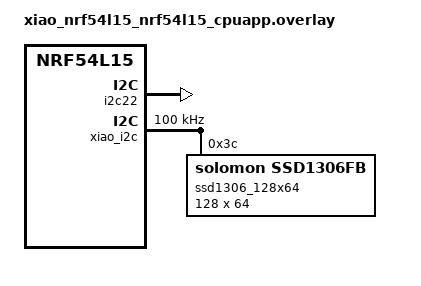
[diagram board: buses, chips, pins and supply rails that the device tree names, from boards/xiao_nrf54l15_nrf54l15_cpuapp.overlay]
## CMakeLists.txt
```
# Copyright (c) 2026 Semtech Corporation
# SPDX-License-Identifier: Apache-2.0

cmake_minimum_required(VERSION 3.13.1)

list(APPEND ZEPHYR_EXTRA_MODULES ${CMAKE_CURRENT_SOURCE_DIR}/usp_preview/usp_zephyr)
list(APPEND ZEPHYR_EXTRA_MODULES ${CMAKE_CURRENT_SOURCE_DIR}/usp_preview/usp)

set(SHIELD semtech_wio_lr2021)

find_package(Zephyr REQUIRED HINTS $ENV{ZEPHYR_BASE})
project(swdm031_img_xfer)

# Add the application files
if(CONFIG_TRANSMITTER)
file(GLOB IMAGE_DEMO_SRC src/transmitter/*.c)
target_include_directories(app PRIVATE src/transmitter )
elseif(CONFIG_RECEIVER)
file(GLOB IMAGE_DEMO_SRC src/receiver/*.c)
target_include_directories(app PRIVATE src/receiver )
endif()

target_include_directories(app PRIVATE
    src/common
)
file(GLOB COMMON src/common/*.c)

target_sources(app PRIVATE
    ${COMMON}
    ${IMAGE_DEMO_SRC}
    src/main.c
)
```

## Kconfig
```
# Copyright (c) 2025 Semtech Corporation
# SPDX-License-Identifier: Apache-2.0

choice DEVICE_ROLE
   prompt "Define as a transmitter or receiver role"
   default TRANSMITTER
   help
      Select a role to run

   config TRANSMITTER
      bool "As a transmitter role"

   config RECEIVER
      bool "As a receiver role"
endchoice # DEVICE_ROLE

config FLRC_BURST_FIFO_IRQ_POLLING
    bool "Allow to activate the polling of FIFO IRQ when IRQ not available on some MCU (used for xiao vs LoRa Plus EVK)"
    default y

source "Kconfig.zephyr"
```

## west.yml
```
# Copyright (c) 2025 Semtech Corporation
# SPDX-License-Identifier: Apache-2.0

manifest:
  projects:
    - name: zephyr
      url: https://github.com/zephyrproject-rtos/zephyr
      revision: v4.2.0
      import: true
  self:
    path: swdm031_img_xfer
```

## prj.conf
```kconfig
# Copyright (c) 2024 Semtech Corporation
# SPDX-License-Identifier: Apache-2.0

# --------------------------- General configuration ---------------------------

CONFIG_SPEED_OPTIMIZATIONS=y          # -O2 ou -O3
CONFIG_SIZE_OPTIMIZATIONS=n           # Vitesse > taille

CONFIG_DCACHE=y
CONFIG_ICACHE=y

CONFIG_USE_SEGGER_RTT=n
# heap size
CONFIG_HEAP_MEM_POOL_SIZE=20480
CONFIG_LOG=y
CONFIG_LOG_BUFFER_SIZE=4096

CONFIG_TEST_RANDOM_GENERATOR=y
CONFIG_PM_DEVICE=y
CONFIG_WATCHDOG=n
CONFIG_FLASH=y

# ------------------------------ Transceiver driver ----------------------------

CONFIG_LORA_BASICS_MODEM_DRIVERS=y
CONFIG_LORA_BASICS_MODEM_DRIVERS_EVENT_TRIGGER_GLOBAL_THREAD=n
CONFIG_LORA_BASICS_MODEM_DRIVERS_EVENT_TRIGGER_NO_THREAD=y

# ------------------------------ USP -----------------------------

CONFIG_USP=y
CONFIG_USP_MAIN_THREAD=y

#CONFIG_USP_LOG_LEVEL_DBG=y
#CONFIG_USP_LOG_VERBOSE=n

# no picolibc (Windows issue)
CONFIG_PICOLIBC_USE_MODULE=n
CONFIG_NEWLIB_LIBC=y

CONFIG_MAIN_STACK_SIZE=4096
CONFIG_STACK_SENTINEL=y

# Debug stack (à enlever en production)
CONFIG_THREAD_STACK_INFO=y
CONFIG_STACK_SENTINEL=y
CONFIG_THREAD_MONITOR=y
CONFIG_THREAD_NAME=y

# Threads are cooperative (non-preemptive) to simplify critical section management and avoid complex synchronization.
# This approach may reduce reactivity when ISR (interrupt service routines) are triggered (low optimization)
# The USP RAC thread is assigned a higher priority: it will execute immediately once the Main thread yields or blocks, ensuring prompt handling of USP RAC-related tasks.
# The Main thread has a lower priority: it runs only when the USP RAC thread is idle or waiting
CONFIG_MAIN_THREAD_PRIORITY=-2
CONFIG_USP_MAIN_THREAD_PRIORITY=-4

# Threads are preemptive: a thread with a higher priority can interrupt (preempt) a lower priority thread at any time.
# USP RAC thread has higher priority (1): it will preempt the main thread immediately whenever it is ready to run (ISR/Timer), ensuring low latency and fast response for USP RAC-related tasks.
# Main thread has lower priority (3): it runs only when the USP RAC thread is not active, yielding CPU time to the more urgent USP RAC operations automatically.
# This priority scheme allows responsive multitasking with guaranteed preemption based on thread priority.
# CONFIG_MAIN_THREAD_PRIORITY=3
# CONFIG_USP_MAIN_THREAD_PRIORITY=1
# CONFIG_USP_THREADS_MUTEXES=y

#
# Priority Inversion : In case of multiple threads with different priorities, consider the modification of existing priorities and mutex use, or use Zephyr capabilities :
# CONFIG_KERNEL_MEM_POOL=y
# CONFIG_MUTEX_PRIORITY_INHERITANCE=y
# CONFIG_PRIORITY_CEILING=y

# Only one thread
# CONFIG_USP_MAIN_THREAD_PRIORITY=0

# Stack trace automatique
CONFIG_DEBUG_THREAD_INFO=y
CONFIG_DEBUG_OPTIMIZATIONS=y

# Meilleure trace des exceptions
CONFIG_EXTRA_EXCEPTION_INFO=y
CONFIG_FAULT_DUMP=2

CONFIG_SSD1306=y
CONFIG_DISPLAY=y
CONFIG_CHARACTER_FRAMEBUFFER=y
CONFIG_DISPLAY_LOG_LEVEL_ERR=y

CONFIG_LVGL=y
CONFIG_LV_Z_MEM_POOL_SIZE=8192
CONFIG_LV_Z_VDB_SIZE=64
CONFIG_LV_DPI_DEF=148
CONFIG_LV_Z_BITS_PER_PIXEL=1
CONFIG_LV_COLOR_DEPTH_1=y

CONFIG_LV_USE_LOG=y
CONFIG_LV_USE_LABEL=y
CONFIG_LV_USE_ARC=y
CONFIG_LV_USE_MONKEY=y
CONFIG_LV_USE_IMAGE=y

# It might cause an error if the "CONFIG_LV_USE_THEME_DEFAULT=y" is set when using Zephyr > V4.0
CONFIG_LV_USE_THEME_SIMPLE=y
CONFIG_LV_USE_THEME_MONO=n

# CONFIG_RECEIVER=y
```

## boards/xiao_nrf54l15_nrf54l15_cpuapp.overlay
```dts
// /*
//  * Copyright (c) 2024 Semtech Corporation
//  *
//  * SPDX-License-Identifier: Apache-2.0
//  */

/ {
	aliases {
		smtc-watchdog = &wdt31;
		smtc-user-button = &usr_btn;
	};
	chosen {
		zephyr,display = &ssd1306_128x64;
	};
};

&xiao_serial {
	status = "disabled";
};

&i2c22 {
	status = "okay";
};

&i2c30 {
	status = "disabled";
};

&adc {
	status = "disabled";
};

&wdt31 {
	status = "disabled";
};

&xiao_i2c {
	status = "okay";
    clock-frequency = <I2C_BITRATE_STANDARD>;
	zephyr,concat-buf-size = <4096>;

    ssd1306_128x64: ssd1306@3c {
		compatible = "solomon,ssd1306fb";
		reg = <0x3c>;
		width = <128>;
		height = <64>;
		segment-offset = <0>;
		page-offset = <0>;
		display-offset = <0>;
		multiplex-ratio = <63>;
		segment-remap;
		com-invdir;
		prechargep = <0x22>;
		inversion-on;
	};
};
```

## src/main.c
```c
/**
 * @file      main.c
 *
 * @brief     Application main
 *
 * The Clear BSD License
 * Copyright Semtech Corporation 2026. All rights reserved.
 *
 * Redistribution and use in source and binary forms, with or without
 * modification, are permitted (subject to the limitations in the disclaimer
 * below) provided that the following conditions are met:
 *     * Redistributions of source code must retain the above copyright
 *       notice, this list of conditions and the following disclaimer.
 *     * Redistributions in binary form must reproduce the above copyright
 *       notice, this list of conditions and the following disclaimer in the
 *       documentation and/or other materials provided with the distribution.
 *     * Neither the name of the Semtech corporation nor the
 *       names of its contributors may be used to endorse or promote products
 *       derived from this software without specific prior written permission.
 *
 * NO EXPRESS OR IMPLIED LICENSES TO ANY PARTY'S PATENT RIGHTS ARE GRANTED BY
 * THIS LICENSE. THIS SOFTWARE IS PROVIDED BY THE COPYRIGHT HOLDERS AND
 * CONTRIBUTORS "AS IS" AND ANY EXPRESS OR IMPLIED WARRANTIES, INCLUDING, BUT
 * NOT LIMITED TO, THE IMPLIED WARRANTIES OF MERCHANTABILITY AND FITNESS FOR A
 * PARTICULAR PURPOSE ARE DISCLAIMED. IN NO EVENT SHALL SEMTECH CORPORATION BE
 * LIABLE FOR ANY DIRECT, INDIRECT, INCIDENTAL, SPECIAL, EXEMPLARY, OR
 * CONSEQUENTIAL DAMAGES (INCLUDING, BUT NOT LIMITED TO, PROCUREMENT OF
 * SUBSTITUTE GOODS OR SERVICES; LOSS OF USE, DATA, OR PROFITS; OR BUSINESS
 * INTERRUPTION) HOWEVER CAUSED AND ON ANY THEORY OF LIABILITY, WHETHER IN
 * CONTRACT, STRICT LIABILITY, OR TORT (INCLUDING NEGLIGENCE OR OTHERWISE)
 * ARISING IN ANY WAY OUT OF THE USE OF THIS SOFTWARE, EVEN IF ADVISED OF THE
 * POSSIBILITY OF SUCH DAMAGE.
 */

#include <stdint.h>   // C99 types
#include <stdbool.h>  // bool type

#include <lvgl.h>
#include <zephyr/device.h>
#include <zephyr/kernel.h>
#include <zephyr/drivers/gpio.h>
#include <zephyr/drivers/display.h>
#include <zephyr/logging/log.h>
#include <zephyr/devicetree.h>

#include <smtc_modem_hal.h>
#include <smtc_zephyr_usp_api.h>
#include <smtc_sw_platform_helper.h>
#include "apps_configuration.h"
#include "lr20xx_system.h"

#if CONFIG_TRANSMITTER
#include "flrc_burst_tx.h"
#endif

/*
 * -----------------------------------------------------------------------------
 * --- PRIVATE MACROS-----------------------------------------------------------
 */

LOG_MODULE_REGISTER( img_xfer, LOG_LEVEL_INF );

/**
 * @brief Led on the XIAO board.
 */
#define LED0_NODE DT_ALIAS( led0 )
#if !DT_NODE_HAS_STATUS( LED0_NODE, okay )
#error "Unsupported board: led0 devicetree alias is not defined"
#endif

/**
 * @brief User button on the XIAO board.
 */
#define USER_BUTTON_NODE DT_ALIAS( smtc_user_button )
#if !DT_NODE_HAS_STATUS( USER_BUTTON_NODE, okay )
#error "Unsupported board: smtc-user-button devicetree alias is not defined"
#endif

/*
 * -----------------------------------------------------------------------------
 * --- PRIVATE CONSTANTS -------------------------------------------------------
 */

static const struct gpio_dt_spec usr_led = GPIO_DT_SPEC_GET( LED0_NODE, gpios );
static const struct gpio_dt_spec button  = GPIO_DT_SPEC_GET_OR( USER_BUTTON_NODE, gpios, { 0 } );

/*
 * -----------------------------------------------------------------------------
 * --- PRIVATE TYPES -----------------------------------------------------------
 */

static struct gpio_callback button_cb_data;
static volatile bool        user_button_is_press = false;  // Flag for button status

/*
 * -----------------------------------------------------------------------------
 * --- PRIVATE VARIABLES -------------------------------------------------------
 */

/**
 * @brief Startup animation
 */
static uint8_t anim_completed_count = 0;
static bool    anim_end_flag        = false;

K_SEM_DEFINE( periodical_event_sem, 0, 1 );

/*
 * -----------------------------------------------------------------------------
 * --- PRIVATE FUNCTIONS DECLARATION -------------------------------------------
 */

static void boot_animation( void );
static void animation_completed_cb( lv_anim_t* anim );

static int  configure_user_button( void );
static void user_button_callback( const struct device* dev, struct gpio_callback* cb, uint32_t pins );

/*
 * -----------------------------------------------------------------------------
 * --- PUBLIC FUNCTIONS DEFINITION ---------------------------------------------
 */

int main( void )
{
    LOG_INF( "===== LR20xx Image Transfer Demo =====" );

    /* Startup logo */
    boot_animation( );
    while( 1 )
    {
        lv_timer_handler( );
        if( anim_end_flag == true )
        {
            // Clear the whole display
            lv_obj_clean( lv_scr_act( ) );
            break;
        }
        k_msleep( 20 );
    }
    /* Boot animation has ended. Display for a while.*/
    k_msleep( 1000 );

    if( !gpio_is_ready_dt( &usr_led ) )
    {
        LOG_ERR( "user led is not ready" );
    }
    else
    {
        gpio_pin_configure_dt( &usr_led, GPIO_OUTPUT_ACTIVE );
    }

    if( configure_user_button( ) != 0 )
    {
        LOG_ERR( "Issue when configuring user button, aborting" );
    }

    SMTC_SW_PLATFORM_INIT( );
    SMTC_SW_PLATFORM_VOID( smtc_rac_init( ) );

    lr20xx_system_version_t version;
    lr20xx_status_t         status;

    void* radio_driver_context = smtc_rac_get_radio_driver_context( );
    /* Get the firmware version */
    status = lr20xx_system_get_version( radio_driver_context, &version );
    if( status == LR20XX_STATUS_OK )
    {
        LOG_INF( "Major firmware version: 0x%02X", version.major );
        LOG_INF( "Minor firmware version: 0x%02X", version.minor );
    }
    /* The entry function for transmitter or receiver. */
    image_transfer_entry( );

    while( true )
    {
        if( user_button_is_press == true )
        {
            user_button_is_press = false;

#if CONFIG_TRANSMITTER
            flrc_raw_bit_rate_changed( );
#endif
            LOG_INF( "User button pushed" );
        }

        if( user_button_is_press == false )
        {
            k_sem_take( &periodical_event_sem, K_MSEC( 1000 ) );
        }
        gpio_pin_toggle_dt( &usr_led );
    }
    return 0;
}

/*
 * -----------------------------------------------------------------------------
 * --- PRIVATE FUNCTIONS DEFINITION --------------------------------------------
 */

static void animation_completed_cb( lv_anim_t* anim )
{
    anim_completed_count++;
    if( anim_completed_count >= 2 )  // Both width and height animations completed
    {
        anim_end_flag = true;
    }
}

static void boot_animation( void )
{
    // Reset animation completion counter
    anim_completed_count = 0;
    anim_end_flag        = false;

    LV_IMG_DECLARE( lora_logo );
    lv_obj_t* img = lv_img_create( lv_scr_act( ) );
    lv_img_set_src( img, &lora_logo );
    lv_obj_align( img, LV_ALIGN_CENTER, 0, 0 );

    // Set the initial size - 10%
    uint16_t target_w = lora_logo.header.w;
    uint16_t target_h = lora_logo.header.h;
    lv_obj_set_size( img, target_w * 0.1, target_h * 0.1 );

    // Define the animation - width and height
    lv_anim_t anim_w, anim_h;
    // width
    lv_anim_init( &anim_w );
    lv_anim_set_var( &anim_w, img );
    lv_anim_set_exec_cb( &anim_w, ( lv_anim_exec_xcb_t ) lv_obj_set_width );
    lv_anim_set_time( &anim_w, 1000 );                        // animation duration 1s
    lv_anim_set_values( &anim_w, target_w * 0.1, target_w );  // from 10% to 100%
    lv_anim_set_ready_cb( &anim_w, animation_completed_cb );  // End callback
    // height
    lv_anim_init( &anim_h );
    lv_anim_set_var( &anim_h, img );
    lv_anim_set_exec_cb( &anim_h, ( lv_anim_exec_xcb_t ) lv_obj_set_height );
    lv_anim_set_time( &anim_h, 1000 );                        // animation duration 1s
    lv_anim_set_values( &anim_h, target_h * 0.1, target_h );  // from 10% to 100%
    lv_anim_set_ready_cb( &anim_h, animation_completed_cb );  // End callback
    lv_anim_start( &anim_w );
    lv_anim_start( &anim_h );
}

static void user_button_callback( const struct device* dev, struct gpio_callback* cb, uint32_t pins )
{
    static uint32_t last_press_timestamp_ms = 0;

    // Debounce the button press, avoid multiple triggers
    if( ( int32_t ) ( smtc_modem_hal_get_time_in_ms( ) - last_press_timestamp_ms ) > 500 )
    {
        last_press_timestamp_ms = smtc_modem_hal_get_time_in_ms( );
        user_button_is_press    = true;
    }
    // Wake up the main thread
    k_sem_give( &periodical_event_sem );
}

static int configure_user_button( void )
{
    int ret = 0;
    if( !gpio_is_ready_dt( &button ) )
    {
        printk( "Error: button device %s is not ready\n", button.port->name );
        return 1;
    }

    ret = gpio_pin_configure_dt( &button, GPIO_INPUT );
    if( ret != 0 )
    {
        printk( "Error %d: failed to configure %s pin %d\n", ret, button.port->name, button.pin );
        return 1;
    }

    ret = gpio_pin_interrupt_configure_dt( &button, GPIO_INT_EDGE_TO_ACTIVE );
    if( ret != 0 )
    {
        printk( "Error %d: failed to configure interrupt on %s pin %d\n", ret, button.port->name, button.pin );
        return 1;
    }

    gpio_init_callback( &button_cb_data, user_button_callback, BIT( button.pin ) );
    gpio_add_callback( button.port, &button_cb_data );

    return 0;
}

/* --- EOF ------------------------------------------------------------------ */
```
